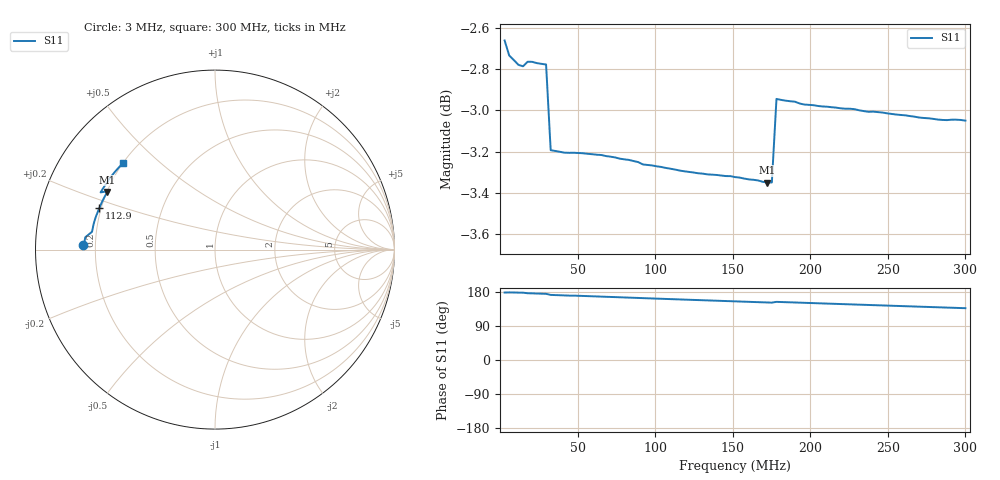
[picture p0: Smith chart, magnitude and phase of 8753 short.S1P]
! C:\data\NanoVNA\8753 short.S1P
! Touchstone 1.1 file saved by VNA.EXE V1.60 (www.ke5fx.com/gpib/readme.htm)
! 22/08/2019 8:32:29 a.m.
!  Source: HEWLETT PACKARD,8753C,0,4.12
!  Min freq: 3.000000E+006 Hz
!  Max freq: 3.000000E+008 Hz
!  Points: 101
!  Params: S11
# GHZ S MA R 50
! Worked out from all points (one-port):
!   101 points, 3 MHz to 300 MHz, reference 50 ohm
!   lowest |S11| = -3.4 dB at 172.3 MHz (marker M1), VSWR 5.25, Z = 10.1 + j12.1 ohm
!   |S11| at or under -10 dB: nowhere
!   S11 on the Smith chart (normalised r, x): 3 MHz: 0.15, +0.02; 112.9 MHz: 0.19, +0.17; 300 MHz: 0.20, +0.38
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0.003  0.7362 178.0
0.00597  0.7301 178.4
0.00894  0.7282 178.2
0.01191  0.7263 177.8
0.01488  0.7257 177.6
0.01785  0.7275 176.2
0.02973  0.7264 174.6
0.0327  0.6924 171.8
0.04161  0.6914 170.4
0.04458  0.6914 170.0
0.04755  0.6914 169.9
0.06537  0.6905 167.3
0.07725  0.6891 165.5
0.08913  0.6878 163.8
0.0921  0.6869 163.3
0.11289  0.6849 160.3
0.11586  0.6845 159.8
0.13962  0.6829 156.4
0.1515  0.682 154.8
0.17229  0.68 151.8
0.17526  0.68 151.4
0.17823  0.7125 153.4
0.19011  0.7114 151.8
0.2109  0.7094 148.9
0.22575  0.7086 146.9
0.24357  0.7073 144.4
0.26436  0.7057 141.6
0.3  0.7039 136.7
